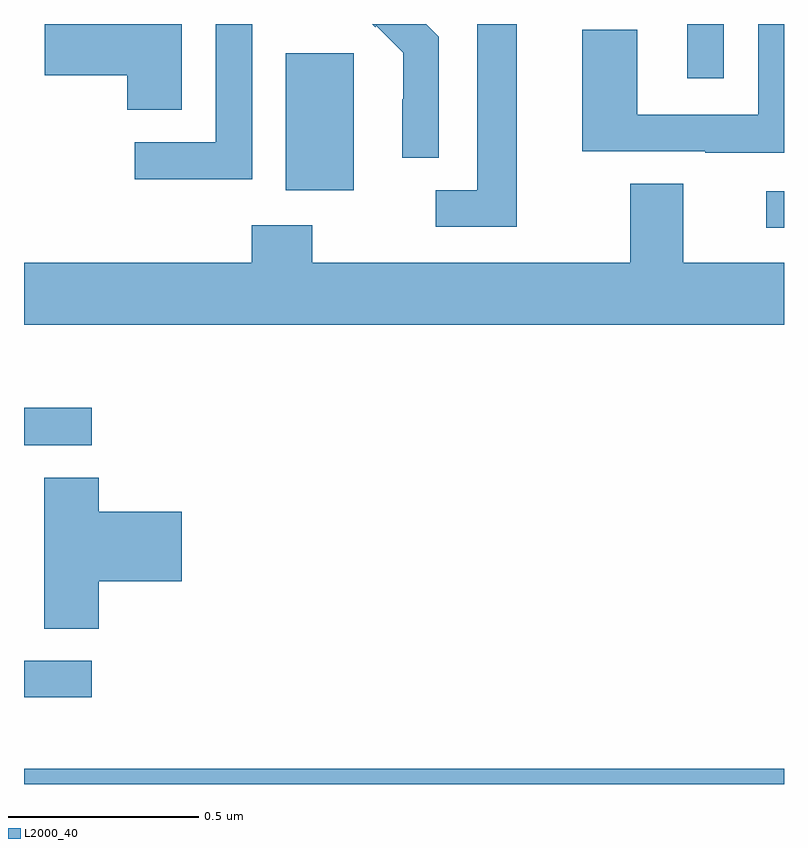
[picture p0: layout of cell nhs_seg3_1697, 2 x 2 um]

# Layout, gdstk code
import gdstk
lib = gdstk.Library(unit=1e-6, precision=1e-09)
def R(c, l, rs):  # rectangles x0, y0, x1, y1
    for r in rs: c.add(gdstk.rectangle(r[:2], r[2:], *l))
def P(c, l, *ps):  # polygons
    for p in ps: c.add(gdstk.Polygon(p, *l))
L2000_40 = (2000, 40)

nhs_seg3_1697 = lib.new_cell('nhs_seg3_1697')
R(nhs_seg3_1697, L2000_40, [(132,674.4,134,674.44), (132,674.628,132.178,674.724), (132,675.291,132.178,675.39), (133.953,675.864,134,675.96), (132.689,675.962,132.868,676.323), (133.745,676.257,133.842,676.4)])
P(nhs_seg3_1697, L2000_40, [(132.6,676.4),(132.504,676.4),(132.504,676.089),(132.291,676.089),(132.291,675.991),(132.6,675.991)],
  [(133.092,676.366),(133.058,676.4),(132.916,676.4),(132.924,676.392),(132.927,676.395),(132.998,676.325),(132.998,676.202),(132.996,676.202),(132.996,676.048),(133.092,676.048)],
  [(134,676.4),(133.932,676.4),(133.932,676.161),(133.614,676.161),(133.614,676.385),(133.469,676.385),(133.469,676.065),(133.793,676.065),(133.793,676.061),(134,676.061)],
  [(133.297,676.4),(133.193,676.4),(133.193,675.963),(133.083,675.963),(133.083,675.867),(133.297,675.867)],
  [(132.415,676.4),(132.054,676.4),(132.054,676.265),(132.272,676.265),(132.272,676.174),(132.415,676.174)],
  [(134,675.772),(133.735,675.772),(133.735,675.98),(133.595,675.98),(133.595,675.772),(132.759,675.772),(132.759,675.871),(132.599,675.871),(132.599,675.772),(132,675.772),(132,675.608),(134,675.608)],
  [(132.197,674.933),(132.415,674.933),(132.415,675.116),(132.197,675.116),(132.197,675.206),(132.053,675.206),(132.053,674.809),(132.197,674.809)])

lib.write_gds('nhs_seg3_1697.gds')
